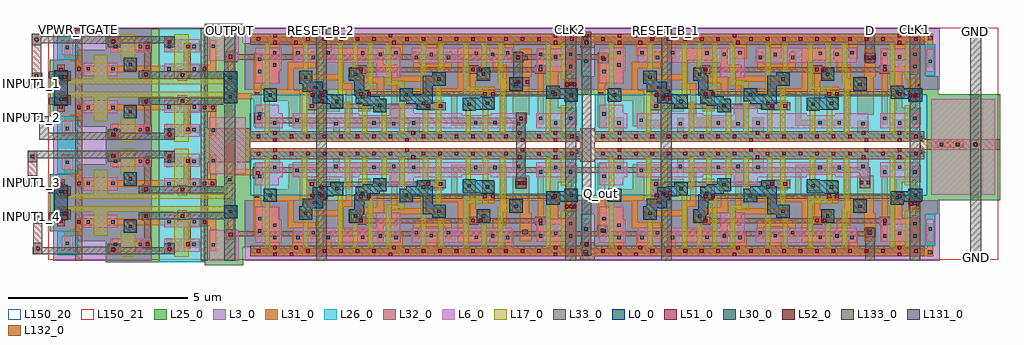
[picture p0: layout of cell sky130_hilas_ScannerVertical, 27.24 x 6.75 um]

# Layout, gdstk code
from math import pi, radians
import gdstk
lib = gdstk.Library(unit=1e-6, precision=1e-09)
def R(c, l, rs):  # rectangles x0, y0, x1, y1
    for r in rs: c.add(gdstk.rectangle(r[:2], r[2:], *l))
def A(c, l, x, y, w, h, nx, ny, dx, dy):  # array of equal rectangles
    R(c, l, [(x+i*dx, y+j*dy, x+i*dx+w, y+j*dy+h) for i in range(nx) for j in range(ny)])
L0_0 = (0, 0)
L3_0 = (3, 0)
L6_0 = (6, 0)
L17_0 = (17, 0)
L25_0 = (25, 0)
L26_0 = (26, 0)
L30_0 = (30, 0)
L31_0 = (31, 0)
L32_0 = (32, 0)
L33_0 = (33, 0)
L51_0 = (51, 0)
L52_0 = (52, 0)
L131_0 = (131, 0)
L132_0 = (132, 0)
L133_0 = (133, 0)
L150_20 = (150, 20)
L150_21 = (150, 21)

sky130_fd_sc_hd__dfrtp_1 = lib.new_cell('sky130_fd_sc_hd__dfrtp_1_fix')
R(sky130_fd_sc_hd__dfrtp_1, L0_0, [(5.405,0.685,5.775,0.855), (2.91,0.715,3.28,0.745), (2.4,0.745,3.28,1.085), (4.185,0.745,4.555,0.915), (6.605,0.795,6.975,0.915), (5.405,0.855,6.07,0.925), (4.11,0.915,4.85,0.985), (6.605,0.915,7.19,0.935), (5.405,0.925,6.255,1.055), (6.605,0.935,7.455,1.165), (0.06,0.975,0.43,1.05), (8.46,0.975,8.83,1.345), (4.11,0.985,5.035,1.185), (0.06,1.05,0.94,1.345), (5.59,1.055,6.255,1.125), (2.4,1.085,2.77,1.115), (5.885,1.125,6.255,1.14), (5.885,1.14,6.305,1.295), (6.87,1.165,7.455,1.185), (4.11,1.185,4.385,1.425), (4.665,1.185,5.035,1.355), (7.085,1.185,7.455,1.255), (7.085,1.255,7.74,1.305), (1.605,1.28,1.975,1.65), (6.03,1.295,6.305,1.555), (7.185,1.305,7.74,1.475), (0.57,1.345,0.94,1.42), (3.755,1.425,4.385,1.695), (7.185,1.475,7.84,1.525), (7.47,1.525,7.84,1.845), (2.51,1.555,2.88,1.925), (6.03,1.555,6.45,1.71), (3.755,1.695,4.125,1.795), (6.08,1.71,6.45,1.925)])
R(sky130_fd_sc_hd__dfrtp_1, L3_0, [(-0.435,1.305,9.365,2.91)])
R(sky130_fd_sc_hd__dfrtp_1, L6_0, [(0.135,0.235,1.225,0.655), (1.565,0.235,8.025,0.595), (8.295,0.235,9.065,0.655), (1.565,0.595,2.49,0.655), (3.285,0.595,5.315,0.655), (6.165,0.595,8.025,0.655), (4.645,0.655,5.315,0.875), (8.405,0.655,9.065,0.885), (8.405,1.485,9.065,1.845), (5.015,1.645,5.695,2.065), (-0.275,1.815,-0.06,2.455), (0.095,1.815,1.225,2.455), (8.325,1.845,9.065,2.485), (1.89,2.065,4.7,2.485), (5.015,2.065,8,2.485)])
R(sky130_fd_sc_hd__dfrtp_1, L17_0, [(0.395,0.095,0.545,0.73), (0.815,0.095,0.965,1.1), (2.09,0.095,2.24,1.3), (2.565,0.095,2.715,0.765), (3.045,0.095,3.195,0.765), (3.875,0.095,4.025,1.445), (4.235,0.095,4.385,0.765), (4.895,0.095,5.045,1.005), (5.39,0.095,5.54,0.705), (5.935,0.095,6.085,0.945), (6.415,0.095,6.565,0.815), (7.16,0.095,7.31,0.955), (7.615,0.095,7.765,1.495), (8.655,0.095,8.805,0.995), (5.39,0.705,5.725,1.035), (0.23,0.73,0.545,0.88), (2.45,0.765,2.72,1.095), (2.93,0.765,3.26,1.035), (4.235,0.765,4.505,1.095), (6.415,0.815,6.925,0.965), (0.23,0.88,0.38,0.995), (5.935,0.945,6.205,1.185), (7.135,0.955,7.405,1.285), (6.62,0.965,6.925,1.145), (0.11,0.995,0.38,1.325), (8.51,0.995,8.805,1.325), (4.715,1.005,5.045,1.335), (2.565,1.095,2.72,1.245), (4.29,1.095,4.44,2.625), (0.59,1.1,0.965,1.37), (6.62,1.145,6.77,2.625), (5.875,1.185,6.205,1.245), (2.565,1.245,3.255,1.395), (5.77,1.245,6.205,1.275), (5.77,1.275,6.085,1.335), (7.16,1.285,7.31,2.625), (1.655,1.3,2.24,1.48), (0.23,1.325,0.38,1.59), (8.655,1.325,8.805,2.625), (4.895,1.335,5.045,1.42), (5.77,1.335,6.02,1.395), (0.815,1.37,0.965,2.595), (3.105,1.395,3.255,2.625), (5.77,1.395,5.92,2.625), (4.895,1.42,5.425,1.57), (3.805,1.445,4.08,1.775), (1.655,1.48,2.3,1.63), (7.52,1.495,7.79,1.825), (5.275,1.57,5.425,2.625), (6.13,1.575,6.4,1.905), (0.23,1.59,0.545,1.74), (2.53,1.605,2.86,1.875), (2.15,1.63,2.3,2.625), (0.395,1.74,0.545,2.595), (3.805,1.775,3.955,2.625), (7.58,1.825,7.73,2.625), (2.61,1.875,2.76,2.625), (6.2,1.905,6.35,2.625)])
R(sky130_fd_sc_hd__dfrtp_1, L25_0, [(-0.395,1.165,0.095,1.69), (-0.035,1.165,1.35,2.775), (1.35,1.165,9.195,2.775), (8.28,1.36,9.195,1.72), (4.89,1.52,5.82,1.94), (8.2,1.72,9.195,1.94)])
R(sky130_fd_sc_hd__dfrtp_1, L26_0, [(-0.07,-0.055,9.195,1.165), (0.095,0.72,2.615,0.78), (3.16,0.72,5.44,0.78), (6.04,0.72,9.19,0.78), (4.52,0.78,5.44,1), (8.28,0.78,9.19,1.01), (-0.305,1.69,-0.035,2.58)])
R(sky130_fd_sc_hd__dfrtp_1, L30_0, [(1.665,0.315,1.755,0.405), (5.155,0.315,5.245,0.405), (6.765,0.315,6.855,0.405), (0.635,0.335,0.725,0.425), (4.595,0.335,4.685,0.425), (5.705,0.335,5.795,0.425), (8.475,0.335,8.565,0.425), (2.33,0.345,2.42,0.435), (2.865,0.345,2.955,0.435), (7.855,0.415,7.945,0.505), (0.215,0.465,0.305,0.555), (1.055,0.465,1.145,0.555), (8.895,0.585,8.985,0.675), (5.545,0.825,5.635,0.915), (3.05,0.855,3.14,0.945), (2.54,0.885,2.63,0.975), (4.325,0.885,4.415,0.975), (6.745,0.935,6.835,1.025), (6.025,1.065,6.115,1.155), (7.225,1.075,7.315,1.165), (0.2,1.115,0.29,1.205), (8.6,1.115,8.69,1.205), (4.805,1.125,4.895,1.215), (0.71,1.19,0.8,1.28), (1.745,1.42,1.835,1.51), (3.895,1.565,3.985,1.655), (7.61,1.615,7.7,1.705), (2.65,1.695,2.74,1.785), (6.22,1.695,6.31,1.785), (8.895,1.775,8.985,1.865), (0.215,1.915,0.305,2.005), (1.055,1.915,1.145,2.005), (8.475,1.955,8.565,2.045), (-0.21,2.06,-0.12,2.15), (8.895,2.115,8.985,2.205), (3.625,2.165,3.715,2.255), (4.53,2.165,4.62,2.255), (7.4,2.165,7.49,2.255), (0.635,2.175,0.725,2.265), (4.11,2.245,4.2,2.335), (0.215,2.255,0.305,2.345), (1.055,2.255,1.145,2.345), (2.39,2.255,2.48,2.345), (5.535,2.255,5.625,2.345), (2.855,2.285,2.945,2.375), (6.02,2.29,6.11,2.38), (1.97,2.295,2.06,2.385), (5.095,2.295,5.185,2.385), (6.98,2.295,7.07,2.385), (7.83,2.295,7.92,2.385), (8.475,2.295,8.565,2.385)])
R(sky130_fd_sc_hd__dfrtp_1, L31_0, [(0,-0.15,9.2,0.085), (0.515,0.085,0.845,0.465), (1.545,0.085,1.875,0.445), (4.475,0.085,4.805,0.545), (6.705,0.085,6.895,0.525), (8.38,0.085,8.685,0.545), (5.585,0.255,6.535,0.535), (8.855,0.265,9.11,0.795), (5.015,0.275,5.365,0.445), (7.065,0.295,8.135,0.465), (2.045,0.305,2.54,0.475), (2.745,0.305,3.6,0.475), (0.09,0.345,0.345,0.635), (1.015,0.345,1.185,2.465), (5.015,0.445,5.275,0.835), (7.065,0.465,7.235,0.695), (7.815,0.465,8.135,0.82), (2.045,0.475,2.215,1.835), (3.43,0.475,3.6,1.185), (6.365,0.535,6.535,1.315), (1.415,0.615,1.875,1.665), (0.09,0.635,0.84,0.805), (7.405,0.635,7.645,1.035), (6.705,0.695,7.235,0.865), (5.465,0.705,5.675,1.495), (5.845,0.705,6.195,1.325), (2.385,0.765,2.735,1.385), (2.905,0.765,3.26,0.985), (3.805,0.765,4.595,1.015), (8.9,0.795,9.11,1.445), (0.61,0.805,0.84,1.795), (7.815,0.82,8.14,0.995), (5.105,0.835,5.275,1.525), (6.705,0.865,6.925,1.145), (0.09,0.975,0.44,1.625), (2.905,0.985,3.075,1.575), (7.815,0.995,8.73,1.295), (4.765,1.005,4.935,1.185), (7.105,1.035,7.645,1.405), (3.245,1.185,4.935,1.355), (7.99,1.295,8.73,1.325), (6.365,1.315,6.77,1.485), (7.99,1.325,8.16,1.915), (3.245,1.355,3.415,2.135), (8.855,1.445,9.11,2.325), (6.6,1.485,6.77,1.575), (5.465,1.495,6.14,1.655), (8.38,1.495,8.685,2.635), (3.775,1.525,5.275,1.695), (2.61,1.575,3.075,1.965), (6.6,1.575,7.82,1.745), (5.465,1.655,6.43,1.665), (1.355,1.665,1.68,2.45), (5.97,1.665,6.43,1.955), (5.105,1.695,5.275,1.835), (6.6,1.745,6.77,2.125), (0.09,1.795,0.84,1.965), (2.045,1.835,2.44,2.005), (5.105,1.835,5.665,2.005), (3.585,1.865,4.66,2.035), (7.36,1.915,8.16,2.085), (-0.25,1.94,-0.08,2.635), (0.09,1.965,0.345,2.465), (2.27,2.005,2.44,2.135), (5.495,2.005,5.665,2.465), (3.585,2.035,3.755,2.375), (4.49,2.035,4.66,2.375), (7.36,2.085,7.53,2.375), (5.9,2.125,6.77,2.465), (0.515,2.135,0.845,2.635), (2.27,2.135,2.52,2.465), (2.735,2.135,3.415,2.465), (1.85,2.175,2.1,2.635), (4.955,2.175,5.325,2.635), (6.94,2.175,7.19,2.635), (3.99,2.205,4.32,2.635), (7.71,2.255,8.04,2.635), (-0.25,2.635,9.2,2.87)])
R(sky130_fd_sc_hd__dfrtp_1, L32_0, [(0,-0.15,9.2,0.15), (3.745,0.735,4.395,0.78), (7.345,0.735,7.635,0.78), (3.745,0.78,7.635,0.92), (3.745,0.92,4.395,0.965), (7.045,0.92,7.635,0.965), (7.045,0.965,7.635,1.28), (0.55,1.075,0.84,1.12), (2.385,1.075,2.675,1.12), (5.965,1.075,6.255,1.12), (0.55,1.12,6.255,1.26), (0.55,1.26,0.84,1.305), (2.385,1.26,2.675,1.305), (5.965,1.26,6.255,1.305), (0.955,1.755,1.245,1.8), (2.845,1.755,3.135,1.8), (5.965,1.755,6.255,1.8), (0.955,1.8,6.255,1.94), (0.955,1.94,1.245,1.985), (2.845,1.94,3.135,1.985), (5.965,1.94,6.255,1.985), (0,2.57,9.2,2.87)])
A(sky130_fd_sc_hd__dfrtp_1, L51_0, 0.18, -0.05, 0.1, 0.1, 3, 1, 0.92, 0)
A(sky130_fd_sc_hd__dfrtp_1, L51_0, 2.48, -0.05, 0.1, 0.1, 5, 1, 0.46, 0)
A(sky130_fd_sc_hd__dfrtp_1, L51_0, 5.24, -0.05, 0.1, 0.1, 7, 1, 0.46, 0)
A(sky130_fd_sc_hd__dfrtp_1, L51_0, 1.1, 2.67, 0.1, 0.1, 9, 1, 0.46, 0)
A(sky130_fd_sc_hd__dfrtp_1, L51_0, 5.7, 2.67, 0.1, 0.1, 5, 1, 0.46, 0)
R(sky130_fd_sc_hd__dfrtp_1, L51_0, [(0.64,-0.15,0.74,-0.05), (1.56,-0.15,1.66,-0.05), (4.78,-0.15,4.88,-0.05), (8.46,-0.15,8.56,-0.05), (8.92,-0.05,9.02,0.05), (0.64,0.05,0.74,0.15), (1.645,0.05,1.745,0.15), (4.605,0.05,4.705,0.15), (8.46,0.05,8.56,0.15), (3.84,0.8,3.94,0.9), (4.2,0.8,4.3,0.9), (7.44,0.8,7.54,0.9), (7.14,1.115,7.24,1.215), (7.415,1.115,7.515,1.215), (0.645,1.14,0.745,1.24), (2.385,1.14,2.485,1.24), (2.6,1.14,2.7,1.24), (5.845,1.14,5.945,1.24), (6.06,1.14,6.16,1.24), (1.05,1.82,1.15,1.92), (2.73,1.82,2.83,1.92), (2.94,1.82,3.04,1.92), (6.06,1.82,6.16,1.92), (0.64,2.57,0.74,2.67), (5.145,2.57,5.245,2.67), (7.875,2.57,7.975,2.67), (8.46,2.57,8.56,2.67), (0.18,2.67,0.28,2.77), (8.92,2.67,9.02,2.77), (0.64,2.77,0.74,2.87), (5.24,2.77,5.34,2.87), (8,2.77,8.1,2.87), (8.46,2.77,8.56,2.87)])
R(sky130_fd_sc_hd__dfrtp_1, L131_0, [(0.055,-0.11,0.12,0.01), (8.955,1.185,9.085,1.235), (7.325,1.33,7.465,1.39), (0.145,1.4,0.175,1.465), (1.46,2.125,1.61,2.255), (-0.225,2.695,-0.095,2.815)])
sky130_fd_sc_hd__dfrtp_1.add(gdstk.Label('RESET_B', (7.39,1.35), layer=131, texttype=0))
sky130_fd_sc_hd__dfrtp_1.add(gdstk.Label('VSUBS', (0.09,-0.04), layer=131, texttype=0))
sky130_fd_sc_hd__dfrtp_1.add(gdstk.Label('CLK_IN', (0.155,1.44), layer=131, texttype=0))
sky130_fd_sc_hd__dfrtp_1.add(gdstk.Label('Q', (9.01,1.21), layer=131, texttype=0))
sky130_fd_sc_hd__dfrtp_1.add(gdstk.Label('D', (1.54,2.18), layer=131, texttype=0))
sky130_fd_sc_hd__dfrtp_1.add(gdstk.Label('VPWR', (-0.18,2.76), layer=131, texttype=0))

sky130_hilas_poly2m1 = lib.new_cell('sky130_hilas_poly2m1')
R(sky130_hilas_poly2m1, L0_0, [(-0.11,-0.1,0.26,0.27)])
R(sky130_hilas_poly2m1, L17_0, [(-0.09,-0.08,0.24,0.25)])
R(sky130_hilas_poly2m1, L30_0, [(0.03,0.04,0.12,0.13)])
R(sky130_hilas_poly2m1, L31_0, [(-0.03,-0.18,0.18,0.25), (-0.01,-0.18,0.16,-0.165)])
R(sky130_hilas_poly2m1, L32_0, [(-0.03,-0.26,0.18,0.03), (-0.03,0.03,0.18,0.25)])
R(sky130_hilas_poly2m1, L51_0, [(0.025,-0.165,0.125,-0.065)])

m3_m2_cdns_712786552313 = lib.new_cell('M3_M2_CDNS_712786552313')
R(m3_m2_cdns_712786552313, L32_0, [(-0.115,-0.115,0.115,0.115)])
R(m3_m2_cdns_712786552313, L33_0, [(-0.09,-0.09,0.09,0.09)])
R(m3_m2_cdns_712786552313, L52_0, [(-0.05,-0.05,0.05,0.05)])

m2_m1_cdns_712786552314 = lib.new_cell('M2_M1_CDNS_712786552314')
R(m2_m1_cdns_712786552314, L31_0, [(-0.09,-0.09,0.09,0.09)])
R(m2_m1_cdns_712786552314, L32_0, [(-0.115,-0.115,0.115,0.115)])
R(m2_m1_cdns_712786552314, L51_0, [(-0.05,-0.05,0.05,0.05)])

sky130_hilas_li2m2 = lib.new_cell('sky130_hilas_li2m2')
R(sky130_hilas_li2m2, L32_0, [(-0.13,-0.14,0.17,0.16)])
R(sky130_hilas_li2m2, L33_0, [(-0.13,-0.14,0.17,0.16)])
sky130_hilas_li2m2.add(gdstk.Reference(m3_m2_cdns_712786552313, (0.02,0.005)))
sky130_hilas_li2m2.add(gdstk.Reference(m2_m1_cdns_712786552314, (0.02,0.005)))

m2_m1_cdns_712786552312 = lib.new_cell('M2_M1_CDNS_712786552312')
R(m2_m1_cdns_712786552312, L31_0, [(-0.045,-0.025,0.075,0.155)])
R(m2_m1_cdns_712786552312, L32_0, [(-0.065,-0.045,0.095,0.175)])
R(m2_m1_cdns_712786552312, L51_0, [(-0.035,0.015,0.065,0.115)])

m3_m2_cdns_712786552311 = lib.new_cell('M3_M2_CDNS_712786552311')
R(m3_m2_cdns_712786552311, L32_0, [(-0.035,-0.075,0.175,0.195)])
R(m3_m2_cdns_712786552311, L33_0, [(-0.065,-0.045,0.205,0.165)])
R(m3_m2_cdns_712786552311, L52_0, [(0.02,0.01,0.12,0.11)])

sky130_hilas_tgatesingle = lib.new_cell('sky130_hilas_TgateSingle01Part2')
R(sky130_hilas_tgatesingle, L3_0, [(-0.67,-1.81,0.96,-0.97), (-0.18,-0.97,0.96,-0.38)])
R(sky130_hilas_tgatesingle, L6_0, [(-0.2,-1.62,0.78,-1.26)])
R(sky130_hilas_tgatesingle, L17_0, [(0.09,-1.76,0.49,-1.03)])
R(sky130_hilas_tgatesingle, L25_0, [(-0.325,-1.745,0.905,-1.135)])
R(sky130_hilas_tgatesingle, L30_0, [(-0.1,-1.46,-0.01,-1.37), (0.59,-1.46,0.68,-1.37)])
R(sky130_hilas_tgatesingle, L31_0, [(-0.14,-1.55,0.03,-1.25), (0.47,-1.5,0.85,-1.33), (0.72,-1.33,0.85,-1.32), (-0.18,-0.88,0.96,-0.7)])
R(sky130_hilas_tgatesingle, L32_0, [(0.72,-1.55,0.95,-1.26), (0.74,-1.26,0.93,-0.67)])
R(sky130_hilas_tgatesingle, L33_0, [(-0.67,-1.7,0.96,-1.5), (-0.67,-1.5,-0.45,-1.49), (0.59,-0.72,0.96,-0.52)])
sky130_hilas_tgatesingle.add(gdstk.Reference(sky130_hilas_li2m2, (-0.14,-1.56)))
sky130_hilas_tgatesingle.add(gdstk.Reference(m2_m1_cdns_712786552312, (0.82,-1.47)))
sky130_hilas_tgatesingle.add(gdstk.Reference(m3_m2_cdns_712786552311, (0.73,-0.69)))

c_sky130_hilas_tgatesingle = lib.new_cell('sky130_hilas_TgateSingle01Part1')
R(c_sky130_hilas_tgatesingle, L6_0, [(4.17,-1.63,4.4,-1.22), (2.91,-1.62,3.9,-1.26), (2.91,-0.94,3.91,-0.59)])
R(c_sky130_hilas_tgatesingle, L17_0, [(3.2,-1.76,3.6,-0.51), (2.57,-0.51,3.6,-0.36)])
R(c_sky130_hilas_tgatesingle, L25_0, [(4.045,-1.755,4.525,-1.095)])
R(c_sky130_hilas_tgatesingle, L26_0, [(2.78,-1.745,4.03,-1.065), (2.78,-1.065,4.04,-0.465)])
R(c_sky130_hilas_tgatesingle, L30_0, [(4.24,-1.47,4.33,-1.38), (3.01,-1.46,3.1,-1.37), (3.7,-1.46,3.79,-1.37), (3,-0.83,3.09,-0.74), (3.71,-0.83,3.8,-0.74)])
R(c_sky130_hilas_tgatesingle, L31_0, [(4.2,-1.59,4.37,-0.91), (2.97,-1.55,3.14,-1.25), (3.63,-1.5,3.92,-1.33), (4.12,-0.91,4.37,-0.71), (2.57,-0.88,3.21,-0.7), (3.59,-0.87,3.94,-0.7)])
R(c_sky130_hilas_tgatesingle, L32_0, [(3.94,-1.81,4.13,-0.29), (3.46,-1.28,3.65,-0.78), (3.28,-0.78,3.65,-0.53), (3.28,-0.53,3.55,-0.46)])
R(c_sky130_hilas_tgatesingle, L33_0, [(2.57,-1.7,3.14,-1.5), (2.57,-0.72,4.45,-0.52)])
c_sky130_hilas_tgatesingle.add(gdstk.Reference(sky130_hilas_li2m2, (3.04,-1.55)))
c_sky130_hilas_tgatesingle.add(gdstk.Reference(m2_m1_cdns_712786552312, (3.56,-1.48)))
c_sky130_hilas_tgatesingle.add(gdstk.Reference(m2_m1_cdns_712786552312, (4.02,-0.86)))
c_sky130_hilas_tgatesingle.add(gdstk.Reference(m3_m2_cdns_712786552311, (3.35,-0.68)))

c_sky130_hilas_tgatesingle_ = lib.new_cell('sky130_hilas_TgateSingle01')
R(c_sky130_hilas_tgatesingle_, L0_0, [(-0.54,-1.1,-0.17,-0.73)])
R(c_sky130_hilas_tgatesingle_, L3_0, [(-2.51,-1.86,0.25,-1.81), (-2.51,-1.81,-0.53,-1.19), (-2.51,-1.19,-0.52,-1.02), (-2.51,-1.02,0.25,-0.25)])
R(c_sky130_hilas_tgatesingle_, L6_0, [(-2.27,-1.59,-1.95,-1.17), (-1.67,-0.96,-0.7,-0.59)])
R(c_sky130_hilas_tgatesingle_, L17_0, [(-1.38,-1.18,-0.98,-0.51), (-0.52,-1.12,-0.19,-0.77), (-2.34,-0.51,0.25,-0.36)])
R(c_sky130_hilas_tgatesingle_, L25_0, [(-1.04,-1.91,-1.035,-1.085), (-1.035,-1.91,0.195,-1.745), (0.195,-1.91,0.46,-0.21), (-1.825,-1.33,0.195,-0.21), (-1.035,-1.135,-0.575,-1.085), (-2.6,-1.045,-1.825,-0.21)])
R(c_sky130_hilas_tgatesingle_, L26_0, [(0.46,-1.91,1.71,-1.745), (-2.395,-1.715,-1.825,-1.045), (0.46,-0.465,1.715,-0.21)])
R(c_sky130_hilas_tgatesingle_, L30_0, [(-2.16,-1.43,-2.07,-1.34), (-0.4,-0.96,-0.31,-0.87), (-1.57,-0.84,-1.48,-0.75), (-0.88,-0.84,-0.79,-0.75)])
R(c_sky130_hilas_tgatesingle_, L31_0, [(-0.74,-1.645,-0.68,-1.55), (-2.2,-1.58,-2.03,-1.3), (0.14,-1.5,0.185,-1.495), (-0.24,-1.33,0.065,-1.315), (-2.2,-1.3,-2.03,-1.26), (-2.2,-1.26,-2.03,-1.24), (-2.2,-1.24,-2.03,-1.22), (-2.2,-1.22,-2.03,-1.17), (-2.2,-1.17,-1.69,-1.11), (-2.2,-1.11,-1.69,-1.08), (-2.2,-1.08,-1.69,-1.05), (-2.03,-1.05,-1.69,-1), (-1.88,-1,-1.69,-0.99), (-0.52,-1,-0.19,-0.88), (-1.88,-0.99,-1.69,-0.96), (-1.88,-0.96,-1.69,-0.88), (1.27,-0.91,1.775,-0.87), (1.775,-0.91,1.8,-0.705), (1.62,-0.885,1.655,-0.7), (-1.88,-0.88,-1.36,-0.83), (-1.01,-0.88,0.25,-0.7), (-1.725,-0.83,-1.36,-0.705), (1.655,-0.71,2.05,-0.7)])
R(c_sky130_hilas_tgatesingle_, L32_0, [(-1.89,-1.86,-1.69,-0.25), (1.62,-1.86,1.81,-1.81), (1.14,-1.525,1.175,-1.305), (1.14,-1.305,1.335,-1.28), (1.33,-1.28,1.335,-0.53), (1.62,-0.29,1.81,-0.25)])
R(c_sky130_hilas_tgatesingle_, L33_0, [(-2.63,-1.7,-0.64,-1.5), (0.82,-1.7,0.89,-1.69), (-1.76,-1.5,-0.64,-1.49), (-0.68,-1.49,-0.64,-1.4), (-0.12,-0.735,-0.045,-0.72), (-2.63,-0.72,-2.02,-0.52), (2.06,-0.72,2.13,-0.52), (-2.045,-0.52,-2.02,-0.455)])
R(c_sky130_hilas_tgatesingle_, L51_0, [(-2.335,-0.815,-2.235,-0.715)])
c_sky130_hilas_tgatesingle_.add(gdstk.Reference(sky130_hilas_poly2m1, (-2.36,-0.65)))
c_sky130_hilas_tgatesingle_.add(gdstk.Reference(sky130_hilas_tgatesingle, (-0.71,0)))
c_sky130_hilas_tgatesingle_.add(gdstk.Reference(c_sky130_hilas_tgatesingle, (-2.32,0)))
c_sky130_hilas_tgatesingle_.add(gdstk.Reference(m3_m2_cdns_712786552311, (-2.25,-0.62)))
c_sky130_hilas_tgatesingle_.add(gdstk.Reference(m2_m1_cdns_712786552312, (-1.8,-0.86)))

sky130_hilas_tgate4singl = lib.new_cell('sky130_hilas_Tgate4Single01')
R(sky130_hilas_tgate4singl, L0_0, [(-0.2,-0.16,0.17,0.09), (-0.2,3.04,0.17,3.29)])
R(sky130_hilas_tgate4singl, L3_0, [(-0.24,3.85,-0.23,4.23)])
R(sky130_hilas_tgate4singl, L25_0, [(1.235,1.455,2.465,1.675), (3.995,1.465,4.475,1.665)])
R(sky130_hilas_tgate4singl, L26_0, [(-0.125,1.425,0.445,1.705), (2.735,1.455,3.975,1.675)])
R(sky130_hilas_tgate4singl, L32_0, [(0.38,-1.41,0.58,-1.37), (3.89,-1.41,4.08,-1.35), (3.89,4.58,4.08,4.64), (0.38,4.6,0.58,4.64)])
R(sky130_hilas_tgate4singl, L33_0, [(-0.36,-1.48,-0.31,-1.28), (-0.36,-0.5,-0.3,-0.3), (4.33,-0.5,4.4,-0.3), (-0.36,0.23,-0.3,0.43), (4.33,0.23,4.4,0.43), (-0.36,1.21,-0.31,1.41), (-0.36,1.72,-0.31,1.92), (-0.36,2.7,-0.3,2.9), (4.33,2.7,4.4,2.9), (-0.36,3.43,-0.3,3.63), (4.33,3.43,4.4,3.63), (-0.36,4.41,-0.31,4.61)])
sky130_hilas_tgate4singl.add(gdstk.Reference(c_sky130_hilas_tgatesingle_, (2.27,3.42)))
sky130_hilas_tgate4singl.add(gdstk.Reference(c_sky130_hilas_tgatesingle_, (2.27,2.91), x_reflection=True))
sky130_hilas_tgate4singl.add(gdstk.Reference(c_sky130_hilas_tgatesingle_, (2.27,-0.29), x_reflection=True))
sky130_hilas_tgate4singl.add(gdstk.Reference(c_sky130_hilas_tgatesingle_, (2.27,0.22)))

m3_m2_cdns_712786552310 = lib.new_cell('M3_M2_CDNS_712786552310')
R(m3_m2_cdns_712786552310, L32_0, [(-0.09,-0.19,0.09,0.19)])
R(m3_m2_cdns_712786552310, L33_0, [(-0.09,-0.19,0.09,0.19)])
R(m3_m2_cdns_712786552310, L52_0, [(-0.05,-0.15,0.05,-0.05), (-0.05,0.05,0.05,0.15)])

sky130_hilas_scannervert = lib.new_cell('sky130_hilas_ScannerVertical')
R(sky130_hilas_scannervert, L0_0, [(5.585,1.31,5.955,1.68), (5.575,4.525,5.945,4.895), (5.58,4.895,5.945,5.05), (5.58,5.05,5.95,5.42)])
R(sky130_hilas_scannervert, L3_0, [(0.81,0.125,3.57,0.145), (6.155,0.125,25.56,0.21), (15.71,0.21,15.735,1.815), (25.28,0.21,25.56,0.235), (15.71,4.9,15.735,6.505), (25.31,6.485,25.56,6.505), (6.155,6.505,25.56,6.625), (0.81,6.555,3.57,6.625)])
R(sky130_hilas_scannervert, L6_0, [(5.17,0.125,5.995,0.99), (25.32,1.975,27.11,4.65), (5.17,2.55,6.185,4.14), (5.17,5.71,5.995,6.625)])
R(sky130_hilas_scannervert, L17_0, [(5.605,1.34,5.935,1.495), (4.2,1.495,5.935,1.645), (4.21,1.855,5.815,2.005), (5.655,2.005,5.815,2.495), (5.595,4.545,5.925,4.695), (4.2,4.695,5.925,4.845), (4.32,5.06,5.93,5.21), (5.595,5.21,5.93,5.37)])
R(sky130_hilas_scannervert, L25_0, [(5.045,0,6.125,0.51), (15.915,0.345,15.935,1.76), (5.04,0.51,6.325,2.425), (15.915,1.76,15.93,1.955), (25.195,1.82,27.24,4.775), (5.045,2.425,6.31,4.265), (5.04,4.265,6.325,6.205), (15.915,4.76,15.93,4.955), (15.915,4.955,15.935,6.37), (5.045,6.205,6.12,6.75)])
R(sky130_hilas_scannervert, L26_0, [(5.025,0.095,5.03,0.26), (5.035,1.54,5.04,1.96), (5.035,4.74,5.04,5.16), (5.025,6.44,5.03,6.605)])
R(sky130_hilas_scannervert, L30_0, [(5.725,1.45,5.815,1.54), (5.7,2.345,5.79,2.435), (25.56,3.335,25.65,3.425), (26.015,3.335,26.105,3.425), (5.715,4.665,5.805,4.755), (5.72,5.19,5.81,5.28)])
R(sky130_hilas_scannervert, L31_0, [(15.765,0.315,15.93,0.485), (5.685,0.78,5.855,1.66), (16.065,0.89,16.235,1.06), (15.18,1.56,15.35,1.73), (24.79,1.645,24.96,1.815), (13.79,2.21,13.96,2.38), (23.39,2.235,23.56,2.405), (5.665,2.28,5.89,2.535), (6.445,2.5,6.615,2.67), (5.665,2.52,6.43,2.69), (5.665,2.69,5.835,3.365), (25.44,3.295,26.225,3.465), (6.475,4.035,6.645,4.205), (5.675,4.545,5.925,4.625), (5.675,4.625,5.925,4.64), (5.675,4.64,6.445,4.81), (24.785,4.655,24.955,4.825), (5.675,4.81,5.845,4.89), (15.17,4.965,15.34,5.135), (13.7,5.035,13.87,5.205), (5.68,5.07,5.85,5.995), (16.07,5.705,16.24,5.875), (23.52,5.715,23.69,5.885), (15.515,6.23,15.985,6.4)])
R(sky130_hilas_scannervert, L32_0, [(1.43,0.125,1.63,0.145), (4.94,0.125,5.13,0.145), (15.52,0.16,15.925,0.64), (0.255,0.31,0.515,1.48), (5.63,0.72,5.92,0.81), (23.45,0.78,23.77,0.81), (5.63,0.81,23.77,0.96), (5.63,0.96,5.92,1.01), (16.005,0.96,16.295,1.125), (23.45,0.96,23.77,1.04), (15.11,1.5,15.41,1.505), (15.11,1.505,15.41,1.52), (15.11,1.52,15.41,1.66), (24.7,1.57,25,1.89), (15.11,1.66,15.41,1.805), (15.11,1.805,15.41,1.81), (8.14,1.84,8.2,1.92), (17.79,1.89,18.05,2.15), (8.14,1.92,8.43,2.155), (13.715,2.15,14.035,2.17), (8.17,2.155,8.43,2.18), (23.325,2.155,23.625,2.59), (13.715,2.17,14.035,2.43), (0.105,2.19,0.365,3.195), (4.94,2.195,5.37,2.405), (13.715,2.43,14.035,2.45), (6.385,2.44,6.685,2.59), (6.385,2.59,23.62,2.74), (5.13,2.88,6.32,3.835), (15.52,2.9,15.93,3.36), (25.02,3.235,27.24,3.515), (15.52,3.36,15.93,3.835), (6.43,3.975,14.035,4.125), (6.43,4.125,6.72,4.265), (13.73,4.125,14.035,4.265), (4.94,4.295,5.37,4.505), (17.795,4.535,18.055,4.795), (8.17,4.545,8.43,4.55), (8.105,4.55,8.43,4.805), (24.695,4.57,24.995,4.89), (8.105,4.805,8.185,4.875), (15.11,4.9,15.41,5.22), (0.22,4.925,0.48,6.46), (13.63,4.995,14.105,5.255), (16.01,5.64,16.3,5.74), (5.62,5.675,5.955,5.74), (13.63,5.675,13.95,5.74), (23.45,5.675,23.77,5.935), (5.62,5.74,16.3,5.89), (5.62,5.89,5.955,5.965), (13.63,5.89,13.95,5.935), (16.01,5.89,16.3,5.93), (15.52,6.075,15.93,6.465), (15.52,6.285,15.935,6.465), (1.43,6.48,1.63,6.625), (1.43,6.555,1.63,6.625), (4.94,6.555,5.13,6.625)])
R(sky130_hilas_scannervert, L33_0, [(5.59,0.125,5.89,1.285), (8.15,0.125,8.45,6.625), (15.11,0.125,15.41,6.625), (17.78,0.125,18.08,1.85), (23.48,0.125,23.74,1.07), (24.72,0.125,25.02,6.625), (26.41,0.125,26.71,6.625), (15.57,0.265,15.83,6.525), (0.24,0.305,0.69,0.505), (0.255,0.505,0.515,0.63), (0.255,1.16,0.515,1.29), (5.45,1.285,5.89,1.485), (0.255,1.29,0.515,1.45), (0,1.31,0.255,1.41), (0.255,1.45,0.515,1.48), (5.59,1.485,5.89,2.015), (17.77,1.85,18.08,4.865), (5.45,2.015,5.89,2.215), (13.745,2.14,14.005,4.265), (0.105,2.19,0.365,2.225), (5.59,2.215,5.89,4.485), (0.105,2.225,0.365,2.385), (0,2.26,0.155,2.36), (0.105,2.385,0.365,2.51), (0.105,2.875,0.365,2.995), (0.105,2.995,0.69,3.195), (0.43,3.505,0.69,4.065), (0,4.065,0.69,4.165), (0,4.065,0.19,4.165), (5.45,4.485,5.89,4.685), (5.59,4.685,5.89,5.215), (17.78,4.865,18.08,6.625), (0.22,4.925,0.51,4.99), (13.66,4.96,13.92,5.965), (0.22,4.99,0.51,5.15), (0,5.02,0.22,5.12), (0.22,5.15,0.51,5.245), (5.45,5.215,5.89,5.415), (0.22,5.245,0.51,5.37), (0.22,5.37,0.26,5.375), (0.44,5.37,0.51,5.375), (5.59,5.415,5.89,6.625), (23.48,5.645,23.74,6.625), (0.22,6.14,0.48,6.195), (0.22,6.195,0.69,6.395), (15.11,6.355,15.41,6.625), (5.59,6.375,5.89,6.625), (24.72,6.375,25.015,6.625), (23.48,6.385,23.74,6.63), (0.22,6.395,0.48,6.46), (8.15,6.4,8.45,6.625), (17.78,6.41,18.08,6.625)])
R(sky130_hilas_scannervert, L51_0, [(5.72,0.815,5.82,0.915), (16.1,0.925,16.2,1.025), (15.11,1.595,15.21,1.695), (15.31,1.595,15.41,1.695), (24.7,1.68,24.8,1.78), (24.9,1.68,25,1.78), (5.215,2.24,5.315,2.34), (13.715,2.245,13.815,2.345), (13.935,2.245,14.035,2.345), (23.325,2.27,23.425,2.37), (23.525,2.27,23.625,2.37), (6.485,2.535,6.585,2.635), (25.555,3.33,25.655,3.43), (26.01,3.33,26.11,3.43), (6.51,4.07,6.61,4.17), (5.23,4.36,5.33,4.46), (24.695,4.69,24.795,4.79), (24.895,4.69,24.995,4.79), (15.11,5,15.21,5.1), (15.31,5,15.41,5.1), (13.735,5.07,13.835,5.17), (14.005,5.07,14.105,5.17), (16.105,5.74,16.205,5.84), (23.45,5.75,23.55,5.85), (23.67,5.75,23.77,5.85), (5.715,5.775,5.815,5.875)])
R(sky130_hilas_scannervert, L52_0, [(15.65,0.27,15.75,0.37), (0.335,0.42,0.435,0.52), (15.65,0.54,15.75,0.64), (23.56,0.86,23.66,0.96), (0.335,1.27,0.435,1.37), (15.21,1.6,15.31,1.7), (24.82,1.68,24.92,1.78), (8.25,1.905,8.35,2.005), (17.77,1.97,17.87,2.07), (17.98,1.97,18.08,2.07), (8.25,2.14,8.35,2.24), (13.825,2.245,13.925,2.345), (0.185,2.3,0.285,2.4), (0.185,2.985,0.285,3.085), (26.51,3.325,26.61,3.425), (13.825,4.055,13.925,4.155), (8.25,4.54,8.35,4.64), (17.77,4.615,17.87,4.715), (17.98,4.615,18.08,4.715), (24.815,4.68,24.915,4.78), (8.25,4.765,8.35,4.865), (15.21,5.01,15.31,5.11), (0.3,5.035,0.4,5.135), (13.74,5.075,13.84,5.175), (13.74,5.755,13.84,5.855), (23.56,5.755,23.66,5.855), (15.65,6.165,15.75,6.265), (0.3,6.25,0.4,6.35), (15.65,6.365,15.75,6.465)])
R(sky130_hilas_scannervert, L131_0, [(16.065,1.975,16.18,2.03)])
R(sky130_hilas_scannervert, L132_0, [(15.59,6.4,15.83,6.465), (1.43,6.545,1.63,6.615)])
R(sky130_hilas_scannervert, L133_0, [(26.41,0.125,26.71,0.3), (0.065,1.335,0.11,1.385), (0.04,2.29,0.08,2.33), (0.065,4.08,0.13,4.15), (0.045,5.035,0.12,5.105), (26.41,6.425,26.71,6.625), (5.59,6.47,5.89,6.625), (17.78,6.475,18.08,6.615), (8.15,6.48,8.45,6.625), (23.48,6.495,23.74,6.625), (24.72,6.51,25.02,6.62), (15.11,6.535,15.41,6.62)])
R(sky130_hilas_scannervert, L150_20, [(0.67,0.165,27.185,6.635)])
R(sky130_hilas_scannervert, L150_21, [(0.67,0.165,27.185,6.635)])
sky130_hilas_scannervert.add(gdstk.Reference(sky130_fd_sc_hd__dfrtp_1, (25.125,3.12), rotation=pi))
sky130_hilas_scannervert.add(gdstk.Reference(sky130_fd_sc_hd__dfrtp_1, (25.125,3.595), rotation=pi, x_reflection=True))
sky130_hilas_scannervert.add(gdstk.Reference(sky130_fd_sc_hd__dfrtp_1, (15.52,3.595), rotation=pi, x_reflection=True))
sky130_hilas_scannervert.add(gdstk.Reference(sky130_fd_sc_hd__dfrtp_1, (15.52,3.12), rotation=pi))
sky130_hilas_scannervert.add(gdstk.Reference(sky130_hilas_tgate4singl, (1.05,1.785)))
sky130_hilas_scannervert.add(gdstk.Reference(m3_m2_cdns_712786552310, (0.35,5.185)))
sky130_hilas_scannervert.add(gdstk.Label('GND', (26.58,0.22), layer=133, texttype=0))
sky130_hilas_scannervert.add(gdstk.Label('GND', (26.56,6.53), layer=133, texttype=0))
sky130_hilas_scannervert.add(gdstk.Label('CLK1', (24.875,6.575), layer=133, texttype=0))
sky130_hilas_scannervert.add(gdstk.Label('D', (23.62,6.565), layer=133, texttype=0))
sky130_hilas_scannervert.add(gdstk.Label('RESET_B_1', (17.94,6.56), layer=133, texttype=0))
sky130_hilas_scannervert.add(gdstk.Label('CLK2', (15.265,6.575), layer=133, texttype=0))
sky130_hilas_scannervert.add(gdstk.Label('RESET_B_2', (8.305,6.56), layer=133, texttype=0))
sky130_hilas_scannervert.add(gdstk.Label('OUTPUT', (5.735,6.55), layer=133, texttype=0))
sky130_hilas_scannervert.add(gdstk.Label('INPUT1_4', (0.085,1.355), layer=133, texttype=0))
sky130_hilas_scannervert.add(gdstk.Label('INPUT1_3', (0.055,2.32), layer=133, texttype=0))
sky130_hilas_scannervert.add(gdstk.Label('INPUT1_2', (0.095,4.115), layer=133, texttype=0))
sky130_hilas_scannervert.add(gdstk.Label('INPUT1_1', (0.07,5.07), layer=133, texttype=0))
sky130_hilas_scannervert.add(gdstk.Label('VPWR_DFF', (15.7,6.435), layer=132, texttype=0))
sky130_hilas_scannervert.add(gdstk.Label('VPWR_TGATE', (1.535,6.58), layer=132, texttype=0))
sky130_hilas_scannervert.add(gdstk.Label('Q_out', (16.11,2.005), layer=131, texttype=0))

lib.write_gds('sky130_hilas_ScannerVertical.gds')
